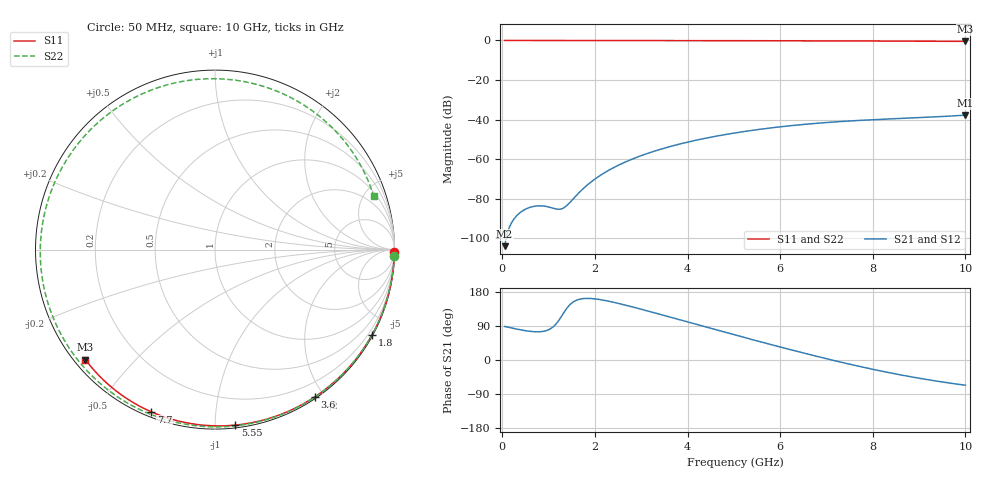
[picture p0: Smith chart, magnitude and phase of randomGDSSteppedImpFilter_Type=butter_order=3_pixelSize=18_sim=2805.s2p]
! freq	dB(S11)	phase(S11)	dB(S12)	phase(S12)
!  dB(S21)	phase(S21)	dB(S22)	phase(S22)
!S-par simulation data
#  GHz  S  DB  R 50
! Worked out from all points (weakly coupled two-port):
!   200 points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, 50 MHz to 10 GHz, reference 50 ohm
!   highest |S21| = -37.77 dB at 10 GHz (marker M1); lowest = -104.0 dB at 50 MHz (marker M2)
!   lowest |S11| = -0.5 dB at 10 GHz (marker M3), VSWR 36.71, Z = 1.55 - j18.3 ohm
!   |S11| at or under -10 dB: nowhere
!   |S22| runs from -0.6 to 0.0 dB; largest |S21 - S12| = 0
!   S11 on the Smith chart (normalised r, x): 50 MHz: open; 1.8 GHz: 0.03, -3.92; 3.6 GHz: 0.02, -1.88; 5.55 GHz: 0.02, -1.12; 7.7 GHz: 0.02, -0.68; 10 GHz: 0.03, -0.37
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0.05  -0.00 -0.8  -104.05 88.6  -104.05 88.6  -0.00 -2.1
0.7  -0.02 -11.3  -83.83 74.6  -83.83 74.6  -0.04 -28.5
1.5  -0.03 -23.9  -80.92 150.4  -80.92 150.4  -0.07 -59.8
1.55  -0.03 -24.7  -79.64 154.6  -79.64 154.6  -0.08 -61.6
1.75  -0.04 -27.9  -74.88 162.1  -74.88 162.1  -0.08 -69.1
1.8  -0.04 -28.6  -73.83 162.5  -73.83 162.5  -0.09 -70.9
2.1  -0.04 -33.3  -68.49 159.6  -68.49 159.6  -0.10 -81.7
2.45  -0.05 -38.7  -63.77 151.0  -63.77 151.0  -0.11 -93.9
2.9  -0.06 -45.5  -59.13 137.2  -59.13 137.2  -0.13 -109.0
3.4  -0.07 -53.0  -55.16 120.7  -55.16 120.7  -0.15 -125.1
3.6  -0.08 -55.9  -53.81 113.9  -53.81 113.9  -0.15 -131.3
4.35  -0.10 -66.8  -49.64 88.6  -49.64 88.6  -0.19 -154.1
5.05  -0.12 -76.6  -46.68 65.2  -46.68 65.2  -0.22 -175.0
5.55  -0.14 -83.4  -44.98 48.8  -44.98 48.8  -0.25 170.2
6.1  -0.16 -90.8  -43.43 31.2  -43.43 31.2  -0.29 153.5
6.7  -0.19 -98.6  -42.07 12.5  -42.07 12.5  -0.33 134.8
7.2  -0.22 -105.1  -41.17 -2.5  -41.17 -2.5  -0.37 118.6
7.7  -0.26 -111.4  -40.46 -16.6  -40.46 -16.6  -0.40 101.7
8.35  -0.31 -119.5  -39.71 -33.4  -39.71 -33.4  -0.45 78.9
9.1  -0.38 -128.7  -38.94 -50.2  -38.94 -50.2  -0.50 51.7
9.55  -0.42 -134.2  -38.42 -58.9  -38.42 -58.9  -0.55 35.1
10  -0.47 -139.7  -37.77 -66.6  -37.77 -66.6  -0.60 18.7
